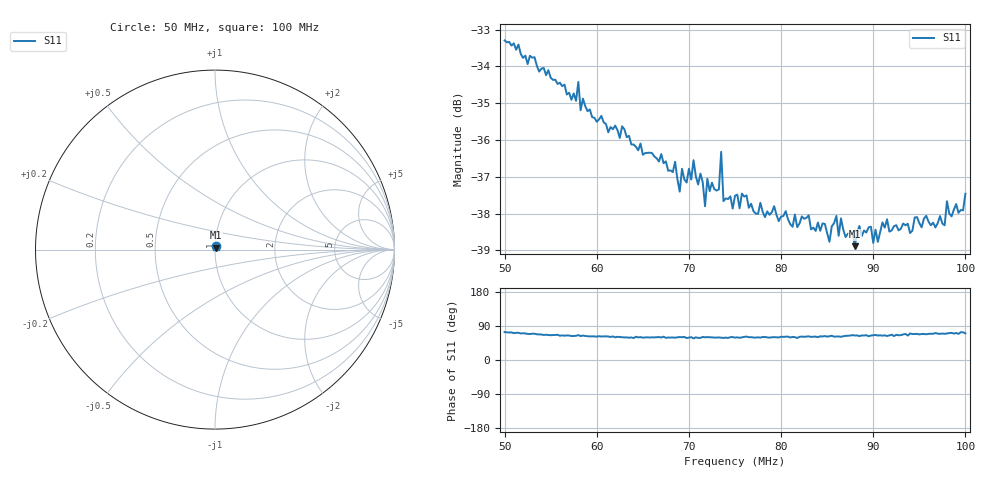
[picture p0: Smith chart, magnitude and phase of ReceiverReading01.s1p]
!Agilent Technologies,E5072A,MY51200456,A.01.06
!Date: Tue Sep 01 20:19:15 2015
!Data & Calibration Information:
!Freq	S11:SOLT1(ON)
!PortZ  Port1:50+j0
!Above PortZ is port z conversion or system Z0 setting when saving the data.
!When reading, reference impedance value at option line is always used.
# Hz S dB R 50
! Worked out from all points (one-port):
!   201 points, 50 MHz to 100 MHz, reference 50 ohm
!   lowest |S11| = -38.9 dB at 88 MHz (marker M1), VSWR 1.02, Z = 50.5 + j1.04 ohm
!   |S11| at or under -10 dB: start of sweep to end of sweep
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5e7  -33.30 73.7
5.625e7  -34.54 64.9
5.775e7  -34.94 63.9
5.8e7  -34.42 65.7
5.825e7  -35.19 63.1
6.25e7  -35.95 60.7
6.875e7  -37.06 59.9
7.025e7  -37.08 60.3
7.05e7  -36.55 56.9
7.175e7  -37.80 60.0
7.2e7  -37.05 60.3
7.325e7  -37.35 59.6
7.35e7  -36.32 58.8
7.375e7  -37.66 58.2
7.5e7  -37.52 59.0
8.125e7  -38.36 60.9
8.525e7  -38.77 62.8
8.6e7  -38.06 62.0
8.75e7  -38.53 64.5
8.8e7  -38.89 64.6
8.85e7  -38.34 63.0
9e7  -38.80 65.3
9.15e7  -38.16 63.3
9.375e7  -38.28 64.6
9.775e7  -38.32 69.1
9.8e7  -37.67 69.9
9.85e7  -38.08 71.7
1e8  -37.46 70.3
